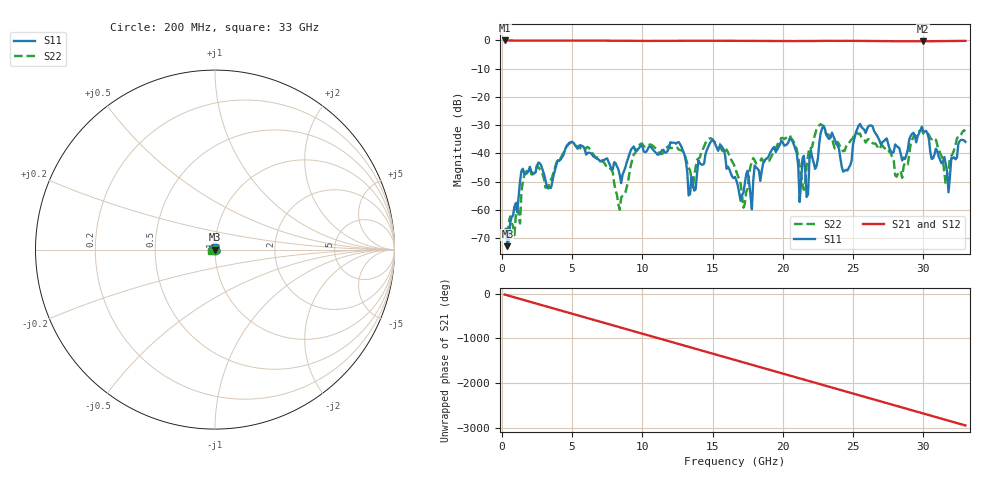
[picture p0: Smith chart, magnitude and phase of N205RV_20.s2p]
# GHZ S RI R 50
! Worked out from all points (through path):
!   329 points, 200 MHz to 33 GHz, reference 50 ohm
!   highest |S21| = -0.02 dB at 200 MHz (marker M1); lowest = -0.3 dB at 30 GHz (marker M2)
!   group delay of S21, straight-line fit = 248 ps
!   lowest |S11| = -72.8 dB at 400 MHz (marker M3), VSWR 1.00, Z = 50 + j0.0156 ohm
!   |S11| at or under -10 dB: start of sweep to end of sweep
!   |S22| runs from -69.0 to -29.6 dB; largest |S21 - S12| = 0.0019
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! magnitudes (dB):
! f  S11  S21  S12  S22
! 200 MHz  -67.3  0.0  0.0  -68.5
! 400 MHz  -72.8  0.0  0.0  -69.0
! 1.3 GHz  -49.8  -0.1  -0.1  -64.8
! 1.5 GHz  -45.4  -0.1  -0.1  -49.9
! 5.7 GHz  -37.3  -0.1  -0.1  -38.7
! 8.4 GHz  -47.8  -0.1  -0.1  -60.0
! 9.7 GHz  -38.5  -0.2  -0.2  -37.4
! 11.2 GHz  -40.3  -0.2  -0.2  -39.9
! 13.3 GHz  -54.9  -0.1  -0.1  -45.1
! 16.6 GHz  -48.3  -0.2  -0.2  -44.9
! 17.2 GHz  -54.0  -0.2  -0.2  -59.2
! 17.9 GHz  -49.5  -0.2  -0.2  -41.6
! 20.5 GHz  -34.6  -0.3  -0.3  -33.6
! 21.2 GHz  -57.2  -0.2  -0.2  -44.3
! 21.5 GHz  -40.8  -0.2  -0.2  -52.9
! 21.7 GHz  -55.4  -0.2  -0.2  -44.4
! 22.1 GHz  -41.5  -0.2  -0.2  -37.6
! 27.6 GHz  -38.4  -0.3  -0.3  -39.0
! 28.5 GHz  -42.5  -0.3  -0.3  -48.7
! 30 GHz  -32.1  -0.3  -0.3  -32.9
! 31.8 GHz  -53.8  -0.2  -0.2  -45.8
! 33 GHz  -35.9  -0.2  -0.2  -32.2
